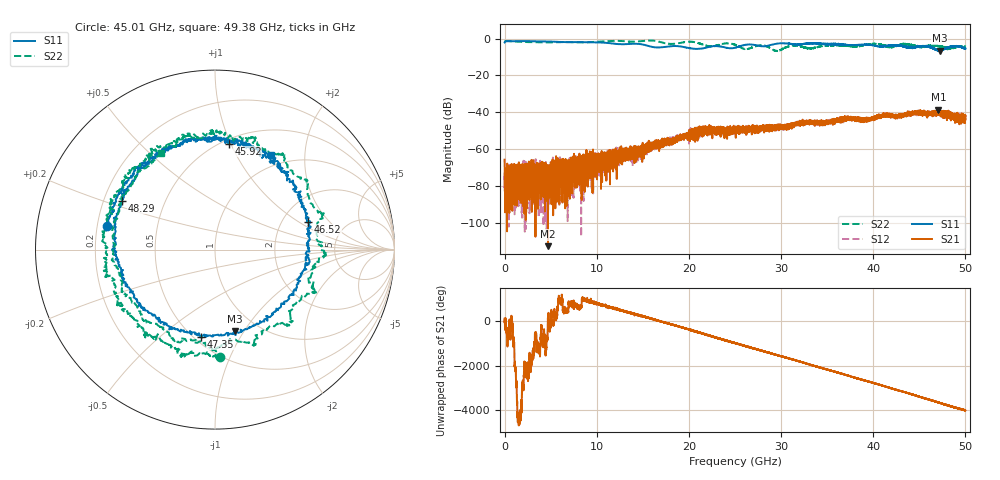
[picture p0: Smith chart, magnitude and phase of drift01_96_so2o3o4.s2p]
!Created with skrf (http://scikit-rf.org).
# Hz S RI R 50.0
!freq ReS11 ImS11 ReS21 ImS21 ReS12 ImS12 ReS22 ImS22
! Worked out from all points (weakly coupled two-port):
!   10001 points, 300 kHz to 50 GHz, reference 50 ohm
!   highest |S21| = -38.60 dB at 47.07 GHz (marker M1); lowest = -112.8 dB at 4.705 GHz (marker M2)
!   lowest |S11| = -6.6 dB at 47.2 GHz (marker M3), VSWR 2.75, Z = 39.2 - j45.4 ohm
!   |S11| at or under -10 dB: nowhere
!   |S22| runs from -6.8 to -1.0 dB; largest |S21 - S12| = 0.0046
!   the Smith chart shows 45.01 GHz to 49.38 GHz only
!   S11 on the Smith chart (normalised r, x): 45.01 GHz: 0.24, +0.10; 45.92 GHz: 0.54, +0.98; 46.52 GHz: 2.76, +1.21; 47.35 GHz: 0.54, -0.69; 48.29 GHz: 0.28, +0.23; 49.38 GHz: 0.84, +1.40
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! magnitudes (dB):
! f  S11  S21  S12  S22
! 300 kHz  -2.1  -65.8  -72.9  -1.3
! 260.3 MHz  -1.4  -76.9  -94.8  -1.4
! 4.705 GHz  -1.6  -112.8  -73.9  -2.1
! 8.335 GHz  -1.9  -78.1  -66.5  -2.1
! 16.67 GHz  -4.8  -55.1  -56.6  -1.6
! 22.03 GHz  -4.7  -51.6  -50.2  -4.1
! 25 GHz  -5.0  -48.5  -50.8  -3.4
! 26.18 GHz  -3.4  -50.3  -49.1  -5.7
! 28.09 GHz  -4.3  -48.3  -48.3  -3.8
! 29.52 GHz  -2.8  -48.6  -48.3  -6.7
! 31.29 GHz  -3.1  -46.6  -47.1  -4.0
! 33.34 GHz  -2.6  -45.5  -45.0  -5.4
! 41.67 GHz  -3.9  -41.5  -41.5  -4.5
! 45.01 GHz  -4.2  -40.8  -40.6  -4.5
! 45.92 GHz  -4.5  -41.2  -40.8  -4.0
! 46.52 GHz  -5.3  -41.3  -41.0  -4.0
! 47.07 GHz  -6.4  -38.6  -40.5  -4.2
! 47.2 GHz  -6.6  -40.1  -40.2  -4.4
! 47.35 GHz  -6.2  -41.5  -40.6  -4.6
! 48.29 GHz  -4.7  -40.2  -42.2  -5.1
! 49.38 GHz  -4.3  -43.7  -43.6  -4.2
! 50 GHz  -5.5  -43.8  -43.7  -4.3
